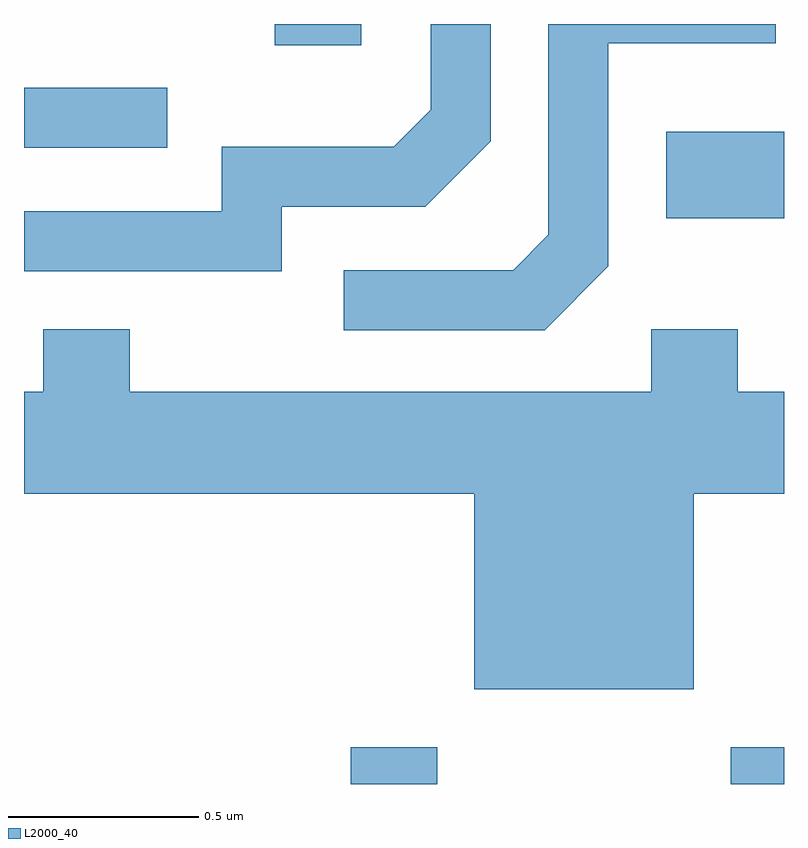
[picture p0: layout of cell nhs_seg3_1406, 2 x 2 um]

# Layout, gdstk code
import gdstk
lib = gdstk.Library(unit=1e-6, precision=1e-09)
def R(c, l, rs):  # rectangles x0, y0, x1, y1
    for r in rs: c.add(gdstk.rectangle(r[:2], r[2:], *l))
def P(c, l, *ps):  # polygons
    for p in ps: c.add(gdstk.Polygon(p, *l))
L2000_40 = (2000, 40)

nhs_seg3_1406 = lib.new_cell('nhs_seg3_1406')
R(nhs_seg3_1406, L2000_40, [(196.471,1151.892,196.699,1151.989), (197.471,1151.892,197.611,1151.989), (197.301,1153.381,197.611,1153.609), (195.611,1153.566,195.988,1153.724)])
P(nhs_seg3_1406, L2000_40, [(197.149,1153.254),(197.149,1153.841),(197.589,1153.841),(197.589,1153.892),(196.991,1153.892),(196.991,1153.337),(196.899,1153.244),(196.453,1153.244),(196.453,1153.086),(196.982,1153.086)],
  [(196.499,1153.892),(195.611,1153.892),(195.611,1153.891),(196.271,1153.891),(196.271,1153.836),(196.499,1153.836)],
  [(196.289,1153.411),(196.667,1153.411),(196.839,1153.584),(196.839,1153.892),(196.681,1153.892),(196.681,1153.667),(196.584,1153.569),(196.131,1153.569),(196.131,1153.399),(195.611,1153.399),(195.611,1153.241),(196.289,1153.241)],
  [(197.374,1152.656),(197.611,1152.656),(197.611,1152.924),(197.489,1152.924),(197.489,1153.089),(197.261,1153.089),(197.261,1152.924),(195.889,1152.924),(195.889,1153.089),(195.661,1153.089),(195.661,1152.924),(195.611,1152.924),(195.611,1152.656),(196.796,1152.656),(196.796,1152.141),(197.374,1152.141)])

lib.write_gds('nhs_seg3_1406.gds')
